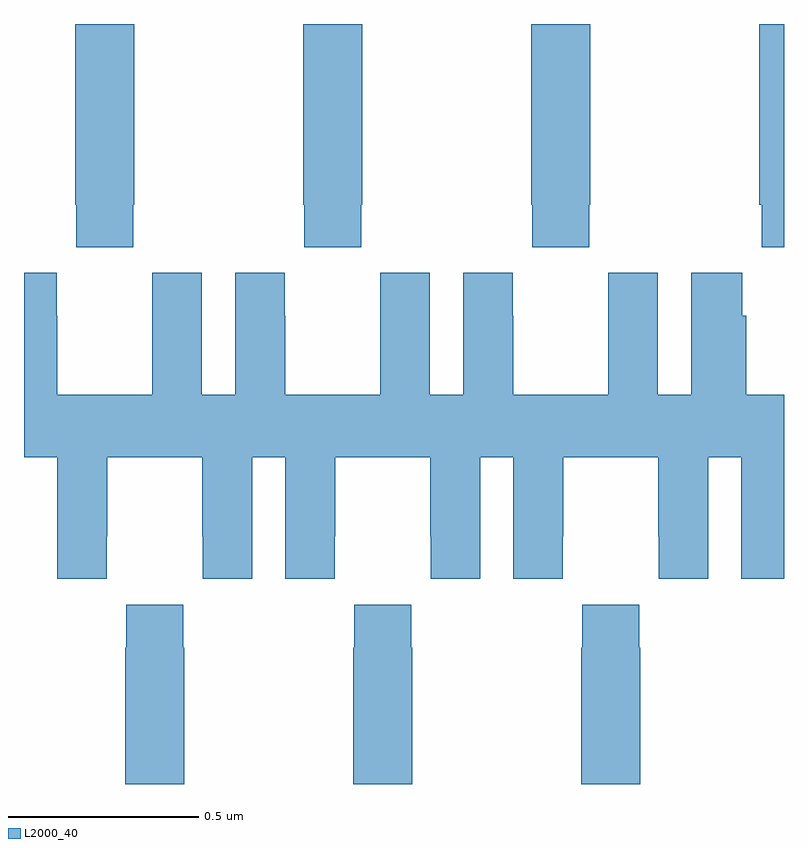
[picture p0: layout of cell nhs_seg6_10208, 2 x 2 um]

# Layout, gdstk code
import gdstk
lib = gdstk.Library(unit=1e-6, precision=1e-09)
def P(c, l, *ps):  # polygons
    for p in ps: c.add(gdstk.Polygon(p, *l))
L2000_40 = (2000, 40)

nhs_seg6_10208 = lib.new_cell('nhs_seg6_10208')
P(nhs_seg6_10208, L2000_40, [(244.887,924.025),(244.89,924.025),(244.89,924.5),(244.735,924.5),(244.735,924.025),(244.737,924.025),(244.737,923.913),(244.887,923.913)],
  [(245.487,924.025),(245.49,924.025),(245.49,924.5),(245.335,924.5),(245.335,924.025),(245.337,924.025),(245.337,923.913),(245.487,923.913)],
  [(246,924.5),(245.935,924.5),(245.935,924.025),(245.941,924.025),(245.941,923.913),(246,923.913)],
  [(244.287,924.025),(244.29,924.025),(244.29,924.5),(244.135,924.5),(244.135,924.025),(244.137,924.025),(244.137,923.913),(244.287,923.913)],
  [(244.218,923.152),(244.219,923.152),(244.219,923.36),(244.469,923.36),(244.469,923.152),(244.47,923.152),(244.47,923.04),(244.6,923.04),(244.6,923.36),(244.688,923.36),(244.688,923.04),(244.818,923.04),(244.818,923.152),(244.819,923.152),(244.819,923.36),(245.069,923.36),(245.069,923.152),(245.07,923.152),(245.07,923.04),(245.2,923.04),(245.2,923.36),(245.288,923.36),(245.288,923.04),(245.418,923.04),(245.418,923.152),(245.419,923.152),(245.419,923.36),(245.669,923.36),(245.669,923.152),(245.67,923.152),(245.67,923.04),(245.8,923.04),(245.8,923.36),(245.888,923.36),(245.888,923.04),(246,923.04),(246,923.524),(245.9,923.524),(245.9,923.732),(245.89,923.732),(245.89,923.845),(245.756,923.845),(245.756,923.524),(245.668,923.524),(245.668,923.845),(245.538,923.845),(245.538,923.732),(245.537,923.732),(245.537,923.524),(245.287,923.524),(245.287,923.732),(245.286,923.732),(245.286,923.845),(245.156,923.845),(245.156,923.524),(245.068,923.524),(245.068,923.845),(244.938,923.845),(244.938,923.732),(244.937,923.732),(244.937,923.524),(244.687,923.524),(244.687,923.732),(244.686,923.732),(244.686,923.845),(244.556,923.845),(244.556,923.524),(244.468,923.524),(244.468,923.845),(244.338,923.845),(244.338,923.732),(244.337,923.732),(244.337,923.524),(244.087,923.524),(244.087,923.732),(244.086,923.732),(244.086,923.845),(244,923.845),(244,923.36),(244.088,923.36),(244.088,923.04),(244.218,923.04)],
  [(244.422,922.859),(244.419,922.859),(244.419,922.972),(244.269,922.972),(244.269,922.859),(244.267,922.859),(244.267,922.5),(244.422,922.5)],
  [(245.022,922.859),(245.019,922.859),(245.019,922.972),(244.869,922.972),(244.869,922.859),(244.867,922.859),(244.867,922.5),(245.022,922.5)],
  [(245.622,922.859),(245.619,922.859),(245.619,922.972),(245.469,922.972),(245.469,922.859),(245.467,922.859),(245.467,922.5),(245.622,922.5)])

lib.write_gds('nhs_seg6_10208.gds')
